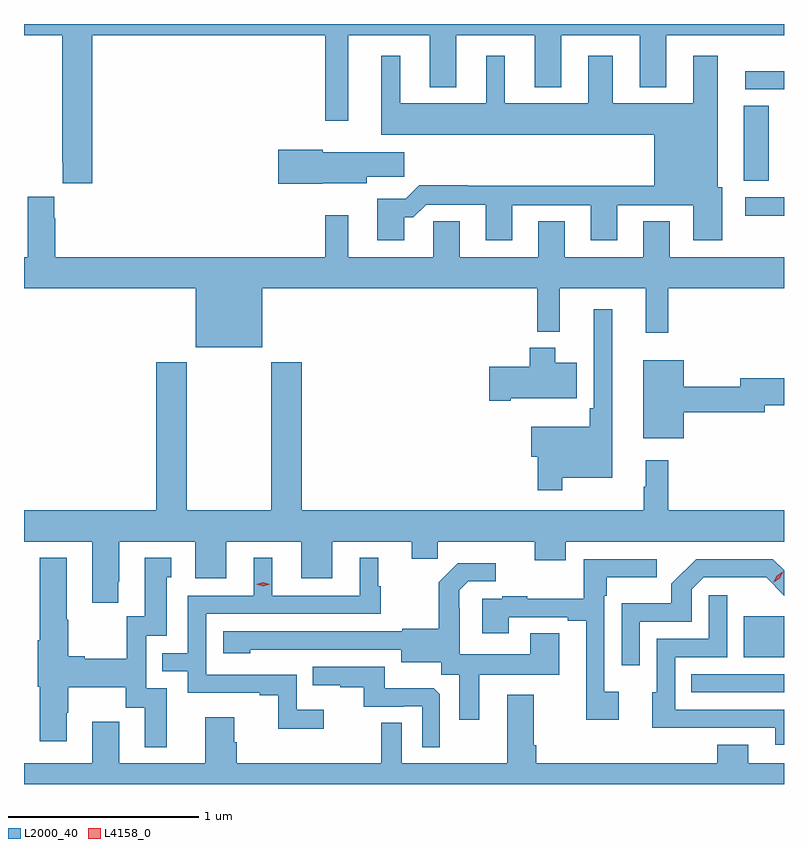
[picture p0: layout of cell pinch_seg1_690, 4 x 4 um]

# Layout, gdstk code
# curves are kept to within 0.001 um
import gdstk
lib = gdstk.Library(unit=1e-6, precision=1e-09)
def R(c, l, rs):  # rectangles x0, y0, x1, y1
    for r in rs: c.add(gdstk.rectangle(r[:2], r[2:], *l))
def P(c, l, *ps):  # polygons
    for p in ps: c.add(gdstk.Polygon(p, *l))
L2000_40 = (2000, 40)
L4158_0 = (4158, 0)

pinch_seg1_690 = lib.new_cell('pinch_seg1_690')
R(pinch_seg1_690, L2000_40, [(689.227,572.25,689.715,572.346), (689.504,572.435,689.715,572.65), (689.511,574.759,689.715,574.857), (689.504,574.942,689.635,575.339), (689.511,575.424,689.715,575.52)])
P(pinch_seg1_690, L2000_40, [(685.715,575.708),(685.915,575.708),(685.915,575.041),(685.919,575.041),(685.919,574.929),(686.075,574.929),(686.075,575.708),(687.3,575.708),(687.3,575.259),(687.421,575.259),(687.421,575.708),(687.851,575.708),(687.851,575.435),(687.991,575.435),(687.991,575.708),(688.403,575.708),(688.403,575.435),(688.543,575.435),(688.543,575.708),(688.955,575.708),(688.955,575.435),(689.095,575.435),(689.095,575.708),(689.715,575.708),(689.715,575.768),(685.715,575.768)],
  [(687.715,574.751),(687.764,574.751),(687.831,574.818),(688.145,574.818),(688.145,574.629),(688.285,574.629),(688.285,574.815),(688.697,574.815),(688.697,574.629),(688.837,574.629),(688.837,574.815),(689.237,574.815),(689.237,574.629),(689.389,574.629),(689.389,574.908),(689.365,574.908),(689.365,575.602),(689.237,575.602),(689.237,575.35),(688.813,575.35),(688.813,575.602),(688.685,575.602),(688.685,575.35),(688.246,575.35),(688.246,575.602),(688.148,575.602),(688.148,575.35),(687.694,575.35),(687.694,575.602),(687.596,575.602),(687.596,575.186),(689.033,575.186),(689.033,574.916),(688.049,574.916),(688.049,574.919),(687.794,574.919),(687.724,574.849),(687.575,574.849),(687.575,574.629),(687.715,574.629)],
  [(687.288,574.931),(687.52,574.931),(687.52,574.963),(687.715,574.963),(687.715,575.092),(687.288,575.092),(687.288,575.105),(687.054,575.105),(687.054,574.927),(687.288,574.927)],
  [(686.968,574.376),(688.417,574.376),(688.417,574.148),(688.535,574.148),(688.535,574.376),(688.988,574.376),(688.988,574.143),(689.105,574.143),(689.105,574.376),(689.715,574.376),(689.715,574.54),(689.113,574.54),(689.113,574.73),(688.973,574.73),(688.973,574.54),(688.561,574.54),(688.561,574.73),(688.421,574.73),(688.421,574.54),(688.009,574.54),(688.009,574.73),(687.87,574.73),(687.87,574.54),(687.421,574.54),(687.421,574.762),(687.3,574.762),(687.3,574.54),(685.88,574.54),(685.88,574.745),(685.873,574.745),(685.873,574.858),(685.736,574.858),(685.736,574.54),(685.715,574.54),(685.715,574.376),(686.618,574.376),(686.618,574.067),(686.968,574.067)],
  [(688.549,573.38),(688.81,573.38),(688.81,574.267),(688.713,574.267),(688.713,573.745),(688.693,573.745),(688.693,573.649),(688.386,573.649),(688.386,573.491),(688.42,573.491),(688.42,573.315),(688.549,573.315)],
  [(688.276,573.797),(688.624,573.797),(688.624,573.985),(688.51,573.985),(688.51,574.063),(688.376,574.063),(688.376,573.963),(688.164,573.963),(688.164,573.785),(688.276,573.785)],
  [(689.188,573.724),(689.614,573.724),(689.614,573.761),(689.715,573.761),(689.715,573.903),(689.486,573.903),(689.486,573.86),(689.188,573.86),(689.188,573.997),(688.973,573.997),(688.973,573.587),(689.188,573.587)],
  [(686.212,572.833),(686.215,572.833),(686.215,573.044),(686.615,573.044),(686.615,572.85),(686.779,572.85),(686.779,573.044),(687.173,573.044),(687.173,572.85),(687.337,572.85),(687.337,573.044),(687.755,573.044),(687.755,572.954),(687.893,572.954),(687.893,573.044),(688.403,573.044),(688.403,572.945),(688.567,572.945),(688.567,573.044),(689.715,573.044),(689.715,573.208),(689.105,573.208),(689.105,573.472),(688.988,573.472),(688.988,573.332),(688.977,573.332),(688.977,573.208),(687.176,573.208),(687.176,573.988),(687.016,573.988),(687.016,573.208),(686.571,573.208),(686.571,573.988),(686.411,573.988),(686.411,573.208),(685.715,573.208),(685.715,573.044),(686.075,573.044),(686.075,572.721),(686.212,572.721)],
  [(686.467,572.271),(686.358,572.271),(686.358,572.547),(686.467,572.547),(686.467,572.856),(686.491,572.856),(686.491,572.959),(686.351,572.959),(686.351,572.652),(686.255,572.652),(686.255,572.428),(686.035,572.428),(686.035,572.441),(685.947,572.441),(685.947,572.633),(685.939,572.633),(685.939,572.959),(685.799,572.959),(685.799,572.524),(685.787,572.524),(685.787,572.28),(685.799,572.28),(685.799,571.992),(685.939,571.992),(685.939,572.142),(685.947,572.142),(685.947,572.276),(686.25,572.276),(686.25,572.17),(686.351,572.17),(686.351,571.962),(686.467,571.962)],
  [(687.292,572.158),(687.15,572.158),(687.15,572.343),(686.673,572.343),(686.673,572.664),(687.592,572.664),(687.592,572.808),(687.58,572.808),(687.58,572.959),(687.482,572.959),(687.482,572.76),(687.022,572.76),(687.022,572.959),(686.924,572.959),(686.924,572.76),(686.577,572.76),(686.577,572.457),(686.443,572.457),(686.443,572.361),(686.577,572.361),(686.577,572.247),(686.957,572.247),(686.957,572.235),(687.052,572.235),(687.052,572.06),(687.292,572.06)],
  [(688.956,572.622),(689.229,572.622),(689.229,572.793),(689.292,572.856),(689.621,572.855),(689.715,572.76),(689.715,572.893),(689.655,572.952),(689.252,572.952),(689.122,572.822),(689.122,572.719),(688.86,572.719),(688.86,572.394),(688.956,572.394)],
  [(688.846,572.254),(688.77,572.254),(688.77,572.759),(688.783,572.759),(688.783,572.855),(689.044,572.855),(689.044,572.952),(688.662,572.952),(688.662,572.744),(688.363,572.744),(688.363,572.755),(688.231,572.755),(688.231,572.742),(688.127,572.742),(688.127,572.562),(688.267,572.562),(688.267,572.646),(688.577,572.646),(688.577,572.628),(688.673,572.628),(688.673,572.106),(688.846,572.106)],
  [(688.111,572.342),(688.531,572.342),(688.531,572.561),(688.379,572.561),(688.379,572.452),(688.008,572.452),(688.008,572.693),(688.006,572.693),(688.006,572.788),(688.053,572.835),(688.198,572.835),(688.198,572.929),(687.997,572.929),(687.897,572.829),(687.897,572.584),(687.705,572.584),(687.705,572.571),(686.763,572.571),(686.763,572.456),(686.907,572.456),(686.907,572.474),(687.701,572.475),(687.701,572.408),(687.912,572.408),(687.912,572.344),(688.007,572.344),(688.007,572.106),(688.111,572.106)],
  [(689.715,572.16),(689.142,572.16),(689.142,572.436),(689.415,572.436),(689.415,572.761),(689.319,572.761),(689.319,572.532),(689.046,572.532),(689.046,572.25),(689.021,572.25),(689.021,572.063),(689.239,572.063),(689.239,572.064),(689.669,572.064),(689.669,571.974),(689.715,571.974)],
  [(687.903,572.241),(687.871,572.273),(687.613,572.273),(687.613,572.385),(687.235,572.385),(687.235,572.288),(687.379,572.288),(687.379,572.277),(687.503,572.277),(687.503,572.175),(687.71,572.175),(687.71,572.178),(687.81,572.178),(687.81,571.961),(687.903,571.961)],
  [(689.715,571.876),(689.527,571.876),(689.527,571.975),(689.363,571.975),(689.363,571.876),(688.412,571.876),(688.412,571.972),(688.399,571.972),(688.399,572.239),(688.259,572.239),(688.259,571.876),(687.702,571.876),(687.702,572.09),(687.594,572.09),(687.594,571.876),(686.834,571.876),(686.834,571.989),(686.821,571.989),(686.821,572.119),(686.669,572.119),(686.669,571.876),(686.215,571.876),(686.215,572.095),(686.075,572.095),(686.075,571.876),(685.715,571.876),(685.715,571.768),(689.715,571.768)])
P(pinch_seg1_690, L4158_0, [(686.973,572.81),(686.937,572.82),(686.937,572.82),(686.937,572.82),(686.973,572.83),(687.009,572.82),(687.009,572.82),(687.009,572.82)],
  [(689.66,572.831),(689.66,572.831),(689.677,572.865),(689.708,572.885),(689.708,572.885),(689.708,572.885),(689.692,572.852),(689.661,572.831)])

lib.write_gds('pinch_seg1_690.gds')
